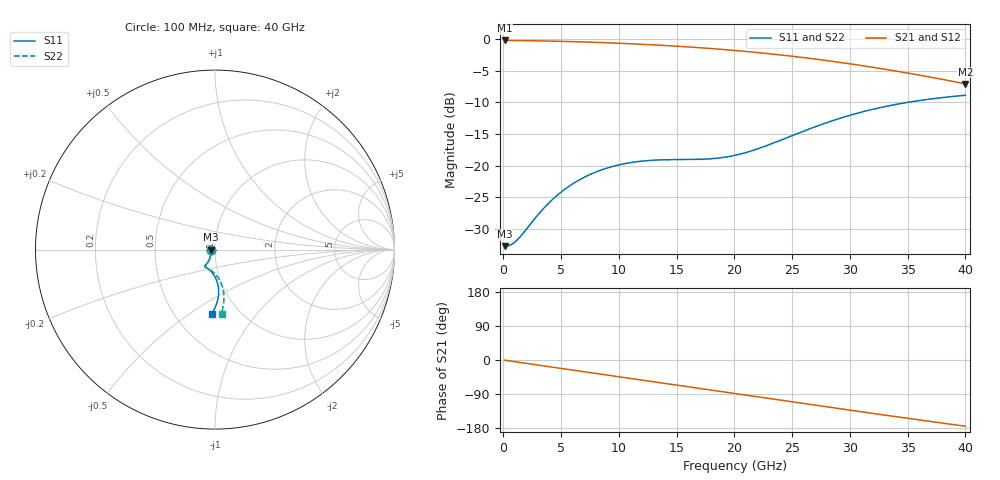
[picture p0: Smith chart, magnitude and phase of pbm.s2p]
! D_s8_stitch_0p5: physics-based via model (prototype), ports at the via
# Hz S RI R 50
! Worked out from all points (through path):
!   400 points, 100 MHz to 40 GHz, reference 50 ohm
!   highest |S21| = -0.20 dB at 100 MHz (marker M1); lowest = -7.1 dB at 40 GHz (marker M2)
!   group delay of S21, straight-line fit = 12.2 ps
!   lowest |S11| = -32.7 dB at 100 MHz (marker M3), VSWR 1.05, Z = 47.7 - j0.0895 ohm
!   |S11| at or under -10 dB: start of sweep to 34.97 GHz
!   |S22| runs from -32.7 to -8.9 dB; largest |S21 - S12| = 0
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1e8  -0.0231 -0.000937  0.9768 -0.00779  0.9768 -0.00779  -0.0231 -0.000946
6e8  -0.0228 -0.00601  0.9752 -0.0463  0.9752 -0.0463  -0.0228 -0.00606
1e9  -0.0227 -0.0103  0.9726 -0.0768  0.9726 -0.0768  -0.0226 -0.0104
1.6e9  -0.0228 -0.017  0.9666 -0.122  0.9666 -0.122  -0.0227 -0.0171
3.2e9  -0.0252 -0.0349  0.9394 -0.2392  0.9394 -0.2392  -0.0248 -0.0352
4.1e9  -0.0278 -0.0445  0.9172 -0.3025  0.9172 -0.3025  -0.0271 -0.0449
5.4e9  -0.0328 -0.0572  0.8768 -0.3898  0.8768 -0.3898  -0.0316 -0.0579
6.8e9  -0.0392 -0.0688  0.8233 -0.4774  0.8233 -0.4774  -0.0374 -0.0698
8.2e9  -0.0458 -0.078  0.7601 -0.5571  0.7601 -0.5571  -0.0433 -0.0794
9.8e9  -0.0525 -0.0855  0.6778 -0.6374  0.6778 -0.6374  -0.0493 -0.0874
1.16e10  -0.0575 -0.0908  0.5742 -0.7123  0.5742 -0.7123  -0.0534 -0.0933
1.34e10  -0.0586 -0.0941  0.4618 -0.7694  0.4618 -0.7694  -0.0536 -0.097
1.51e10  -0.0553 -0.097  0.3504 -0.806  0.3504 -0.806  -0.0496 -0.1
1.67e10  -0.0486 -0.1009  0.2432 -0.8246  0.2432 -0.8246  -0.042 -0.1038
1.84e10  -0.0382 -0.1076  0.1296 -0.8273  0.1296 -0.8273  -0.0305 -0.1101
2.01e10  -0.0256 -0.1182  0.0192 -0.8129  0.0192 -0.8129  -0.0164 -0.1199
2.32e10  -0.00192 -0.1487  -0.1645 -0.7461  -0.1645 -0.7461  0.0114 -0.1485
2.67e10  0.0166 -0.1977  -0.3288 -0.6199  -0.3288 -0.6199  0.0368 -0.1952
3e10  0.0199 -0.2493  -0.4306 -0.4715  -0.4306 -0.4715  0.0484 -0.2455
3.34e10  0.0104 -0.2975  -0.4796 -0.3106  -0.4796 -0.3106  0.0483 -0.2939
3.65e10  -0.00375 -0.3319  -0.4802 -0.1728  -0.4802 -0.1728  0.0425 -0.3293
4e10  -0.0177 -0.3598  -0.4414 -0.0406  -0.4414 -0.0406  0.0374 -0.3583
